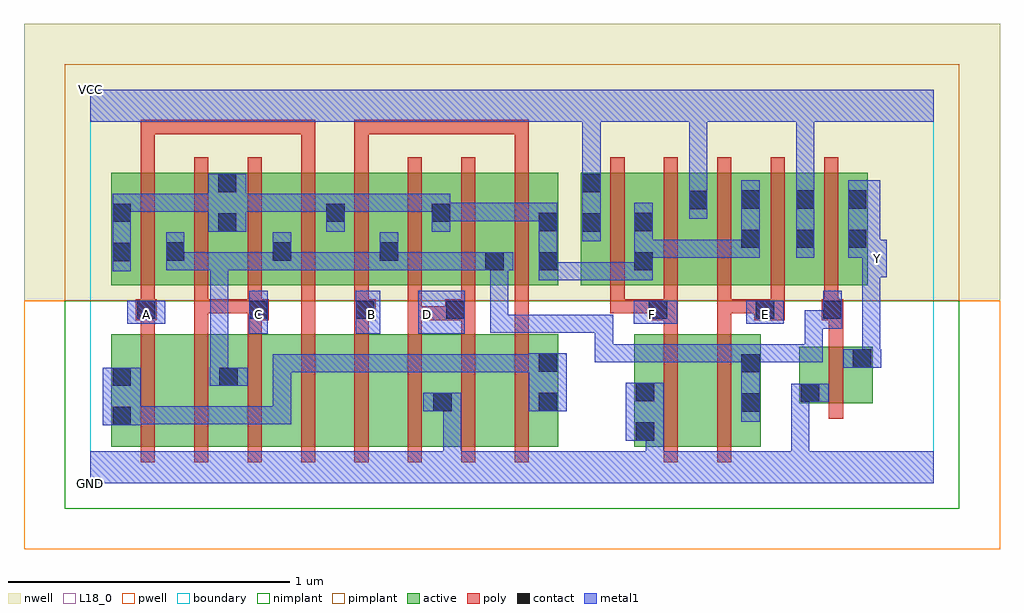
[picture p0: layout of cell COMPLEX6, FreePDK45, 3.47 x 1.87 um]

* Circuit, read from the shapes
.subckt COMPLEX6 A B C D E F GND VCC Y
M1 n1 A n2 VSUBS nfet w=0.4u l=0.05u
M2 n3 C n1 VSUBS nfet w=0.4u l=0.05u
M3 n4 C n3 VSUBS nfet w=0.4u l=0.05u
M4 n5 A n4 VSUBS nfet w=0.4u l=0.05u
M5 n6 B n5 VSUBS nfet w=0.4u l=0.05u
M6 GND D n6 VSUBS nfet w=0.4u l=0.05u
M7 n7 D GND VSUBS nfet w=0.4u l=0.05u
M8 n2 B n7 VSUBS nfet w=0.4u l=0.05u
M9 n8 F GND VSUBS nfet w=0.4u l=0.05u
M10 n3 E n8 VSUBS nfet w=0.4u l=0.05u
M11 Y n3 GND VSUBS nfet w=0.2u l=0.05u
M12 n3 A n9 n10 pfet w=0.4u l=0.05u m=2
M13 n9 C n3 n10 pfet w=0.4u l=0.05u m=2
M14 n3 B n9 n10 pfet w=0.4u l=0.05u m=2
M15 n9 D n3 n10 pfet w=0.4u l=0.05u m=2
M16 n9 F VCC n10 pfet w=0.4u l=0.05u m=2
M17 n9 E VCC n10 pfet w=0.4u l=0.05u m=2
M18 Y n3 VCC n10 pfet w=0.4u l=0.05u
.ends

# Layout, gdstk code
import gdstk
lib = gdstk.Library(unit=1e-6, precision=1e-09)
def R(c, l, rs):  # rectangles x0, y0, x1, y1
    for r in rs: c.add(gdstk.rectangle(r[:2], r[2:], *l))
def A(c, l, x, y, w, h, nx, ny, dx, dy):  # array of equal rectangles
    R(c, l, [(x+i*dx, y+j*dy, x+i*dx+w, y+j*dy+h) for i in range(nx) for j in range(ny)])
active = (1, 0)
pwell = (2, 0)
nwell = (3, 0)
nimplant = (4, 0)
pimplant = (5, 0)
poly = (9, 0)
contact = (10, 0)
metal1 = (11, 0)
L18_0 = (18, 0)
boundary = (235, 0)

complex6 = lib.new_cell('COMPLEX6')
A(complex6, active, 0.265, 0.705, 0.075, 0.365, 3, 1, 0.38, 0)
A(complex6, active, 1.745, 0.705, 0.26, 0.4, 3, 1, 0.38, 0)
R(complex6, active, [(0.075,0.13,0.3,0.53), (0.3,0.13,0.53,0.53), (0.455,0.13,0.68,0.53), (0.68,0.13,0.87,0.53), (0.87,0.13,1.06,0.53), (1.06,0.13,1.29,0.53), (1.215,0.13,1.44,0.53), (1.44,0.13,1.665,0.53), (1.935,0.13,2.16,0.53), (1.935,0.13,2.01,0.53), (2.16,0.13,2.385,0.53), (0.075,0.195,0.18,0.53), (0.455,0.195,0.53,0.53), (1.215,0.195,1.29,0.492), (1.59,0.195,1.665,0.53), (2.31,0.195,2.385,0.53), (2.522,0.285,2.782,0.485), (2.522,0.285,2.597,0.485), (2.707,0.395,2.782,0.485), (0.075,0.705,0.15,1.105), (0.075,0.705,0.34,1.105), (0.265,0.705,0.525,1.105), (0.45,0.705,0.72,1.105), (0.645,0.705,0.91,1.105), (0.835,0.705,1.1,1.105), (1.025,0.705,1.285,1.105), (1.21,0.705,1.475,1.105), (1.4,0.705,1.665,1.105), (1.4,0.705,1.475,1.07), (1.59,0.705,1.665,1.105), (1.745,0.705,1.82,1.105), (1.93,0.705,2.2,1.105), (2.31,0.705,2.385,1.105), (2.31,0.705,2.58,1.105), (2.69,0.705,2.765,1.105), (1.93,0.752,2.005,1.105), (0.45,0.782,0.525,1.105), (1.21,0.782,1.285,1.105), (0.835,0.802,0.91,1.105), (2.125,0.802,2.2,1.105), (2.505,0.832,2.58,1.105)])
R(complex6, pwell, [(-0.235,-0.235,3.235,0.65)])
R(complex6, nwell, [(-0.235,0.65,3.235,1.635)])
R(complex6, nimplant, [(-0.09,-0.09,3.09,0.65)])
R(complex6, pimplant, [(-0.09,0.65,3.09,1.49)])
A(complex6, poly, 0.18, 0.075, 0.05, 0.51, 8, 2, 0.19, 0.575)
A(complex6, poly, 0.56, 0.535, 0.05, 0.095, 6, 1, 0.19, 0)
A(complex6, poly, 0.75, 0.58, 0.05, 0.12, 3, 1, 0.38, 0)
A(complex6, poly, 0.18, 0.605, 0.05, 0.095, 3, 1, 0.19, 0)
A(complex6, poly, 1.85, 0.605, 0.05, 0.095, 5, 1, 0.19, 0)
A(complex6, poly, 1.85, 0.65, 0.05, 0.51, 5, 1, 0.19, 0)
R(complex6, poly, [(2.04,0.075,2.09,0.585), (2.23,0.075,2.28,0.585), (2.627,0.23,2.677,0.54), (2.627,0.49,2.677,0.63), (0.18,0.535,0.23,0.63), (0.37,0.535,0.42,0.655), (2.04,0.535,2.09,0.63), (2.23,0.535,2.28,0.655), (0.162,0.58,0.237,0.655), (0.56,0.58,0.635,0.655), (0.75,0.58,0.8,0.63), (0.94,0.58,1.015,0.655), (1.13,0.58,1.312,0.63), (1.13,0.58,1.18,0.63), (1.13,0.58,1.18,0.63), (1.13,0.58,1.18,0.63), (1.262,0.58,1.37,0.655), (1.51,0.58,1.56,0.63), (1.982,0.58,2.09,0.655), (2.362,0.58,2.47,0.655), (2.602,0.58,2.677,0.655), (0.37,0.605,0.42,0.655), (0.37,0.605,0.42,0.655), (0.37,0.605,0.42,0.655), (0.37,0.605,0.61,0.655), (0.94,0.605,0.99,0.7), (1.32,0.605,1.37,0.7), (1.85,0.605,2.032,0.655), (1.85,0.605,1.9,0.655), (1.982,0.605,2.032,0.655), (1.982,0.605,2.032,0.655), (2.23,0.605,2.412,0.655), (2.23,0.605,2.28,0.655), (2.23,0.605,2.28,0.655), (2.23,0.605,2.28,0.655), (0.18,1.11,0.23,1.292), (0.75,1.11,0.8,1.292), (0.94,1.11,0.99,1.292), (1.51,1.11,1.56,1.292), (0.18,1.242,0.362,1.292), (0.18,1.242,0.23,1.292), (0.18,1.242,0.23,1.292), (0.18,1.242,0.23,1.292), (0.312,1.242,0.362,1.292), (0.312,1.242,0.667,1.292), (0.617,1.242,0.667,1.292), (0.617,1.242,0.667,1.292), (0.617,1.242,0.667,1.292), (0.617,1.242,0.8,1.292), (0.75,1.242,0.8,1.292), (0.75,1.242,0.8,1.292), (0.75,1.242,0.8,1.292), (0.94,1.242,0.99,1.292), (0.94,1.242,0.99,1.292), (0.94,1.242,0.99,1.292), (0.94,1.242,1.18,1.292), (1.13,1.242,1.312,1.292), (1.13,1.242,1.18,1.292), (1.262,1.242,1.312,1.292), (1.262,1.242,1.312,1.292), (1.262,1.242,1.312,1.292), (1.262,1.242,1.56,1.292), (1.51,1.242,1.56,1.292), (1.51,1.242,1.56,1.292), (1.51,1.242,1.56,1.292)])
A(complex6, contact, 0.27, 0.792, 0.065, 0.065, 3, 1, 0.38, 0)
R(complex6, contact, [(1.94,0.152,2.005,0.217), (0.08,0.207,0.145,0.272), (2.315,0.255,2.38,0.32), (1.22,0.257,1.285,0.322), (1.595,0.257,1.66,0.322), (2.527,0.29,2.592,0.355), (1.94,0.292,2.005,0.357), (0.08,0.347,0.145,0.412), (0.46,0.347,0.525,0.412), (2.315,0.395,2.38,0.46), (1.595,0.397,1.66,0.462), (2.712,0.412,2.777,0.477), (0.167,0.585,0.232,0.65), (0.565,0.585,0.63,0.65), (0.945,0.585,1.01,0.65), (1.267,0.585,1.332,0.65), (1.987,0.585,2.052,0.65), (2.367,0.585,2.432,0.65), (2.607,0.585,2.672,0.65), (1.405,0.757,1.47,0.822), (1.595,0.757,1.66,0.822), (1.935,0.757,2,0.822), (0.08,0.79,0.145,0.855), (2.315,0.837,2.38,0.902), (2.51,0.837,2.575,0.902), (2.695,0.837,2.76,0.902), (0.455,0.895,0.52,0.96), (1.75,0.895,1.815,0.96), (1.595,0.897,1.66,0.962), (1.935,0.897,2,0.962), (0.08,0.93,0.145,0.995), (0.84,0.93,0.905,0.995), (1.215,0.93,1.28,0.995), (2.13,0.975,2.195,1.04), (2.315,0.977,2.38,1.042), (2.51,0.977,2.575,1.042), (2.695,0.977,2.76,1.042), (0.455,1.035,0.52,1.1), (1.75,1.035,1.815,1.1)])
A(complex6, metal1, 0.27, 0.757, 0.065, 0.135, 3, 1, 0.38, 0)
R(complex6, metal1, [(0,0,3,0.115), (1.255,0.05,1.32,0.322), (1.975,0.05,2.04,0.217), (2.492,0.05,2.557,0.355), (1.905,0.152,2.04,0.357), (0.045,0.207,0.18,0.412), (0.115,0.21,0.18,0.275), (0.115,0.21,0.18,0.275), (0.115,0.21,0.347,0.275), (0.282,0.21,0.347,0.275), (0.282,0.21,0.347,0.275), (0.282,0.21,0.347,0.275), (0.282,0.21,0.347,0.275), (0.282,0.21,0.347,0.275), (0.282,0.21,0.485,0.275), (0.42,0.21,0.485,0.275), (0.42,0.21,0.485,0.275), (0.42,0.21,0.485,0.275), (0.42,0.21,0.715,0.275), (0.65,0.21,0.715,0.275), (0.65,0.21,0.715,0.46), (2.315,0.22,2.38,0.495), (1.185,0.257,1.32,0.322), (1.56,0.257,1.695,0.462), (2.492,0.29,2.557,0.355), (2.492,0.29,2.557,0.355), (2.492,0.29,2.557,0.355), (2.492,0.29,2.557,0.355), (2.492,0.29,2.627,0.355), (0.425,0.347,0.56,0.412), (0.427,0.347,0.492,0.412), (0.427,0.347,0.492,0.412), (0.427,0.347,0.492,0.822), (0.65,0.395,0.715,0.46), (0.65,0.395,0.715,0.46), (0.65,0.395,0.715,0.46), (0.65,0.395,0.852,0.46), (0.787,0.395,0.852,0.46), (0.787,0.395,0.852,0.46), (0.787,0.395,0.852,0.46), (0.787,0.395,1.095,0.46), (1.03,0.395,1.095,0.46), (1.03,0.395,1.095,0.46), (1.03,0.395,1.095,0.46), (1.03,0.395,1.297,0.46), (1.232,0.395,1.297,0.46), (1.232,0.395,1.297,0.46), (1.232,0.395,1.297,0.46), (1.232,0.395,1.487,0.46), (1.422,0.395,1.487,0.46), (1.422,0.395,1.487,0.46), (1.422,0.395,1.487,0.46), (1.422,0.395,1.625,0.46), (2.677,0.412,2.812,0.477), (2.745,0.412,2.81,0.797), (1.795,0.43,1.86,0.495), (1.795,0.43,1.997,0.495), (1.795,0.43,1.86,0.6), (1.932,0.43,1.997,0.495), (1.932,0.43,2.137,0.495), (2.072,0.43,2.137,0.495), (2.072,0.43,2.137,0.495), (2.072,0.43,2.137,0.495), (2.072,0.43,2.38,0.495), (2.315,0.43,2.38,0.495), (2.315,0.43,2.38,0.495), (2.315,0.43,2.605,0.495), (2.54,0.43,2.605,0.495), (2.54,0.43,2.605,0.615), (0.565,0.532,0.632,0.685), (0.945,0.532,1.032,0.685), (1.167,0.532,1.332,0.685), (1.422,0.535,1.487,0.6), (1.422,0.535,1.487,0.6), (1.422,0.535,1.487,0.6), (1.422,0.535,1.642,0.6), (1.422,0.535,1.487,0.822), (1.577,0.535,1.642,0.6), (1.577,0.535,1.642,0.6), (1.577,0.535,1.642,0.6), (1.577,0.535,1.86,0.6), (1.795,0.535,1.86,0.6), (1.795,0.535,1.86,0.6), (1.795,0.535,1.86,0.6), (2.54,0.55,2.605,0.615), (2.54,0.55,2.672,0.615), (2.607,0.55,2.672,0.685), (0.132,0.567,0.267,0.65), (1.932,0.567,2.087,0.65), (2.332,0.567,2.467,0.65), (1.595,0.722,1.66,0.787), (1.595,0.722,1.66,0.787), (1.595,0.722,1.66,0.787), (1.595,0.722,1.66,0.787), (1.595,0.722,1.66,0.997), (1.595,0.722,1.797,0.787), (1.732,0.722,1.797,0.787), (1.732,0.722,2,0.787), (1.935,0.722,2,0.997), (2.745,0.732,2.832,0.867), (0.08,0.755,0.145,1.03), (0.27,0.757,0.335,0.822), (0.27,0.757,0.335,0.822), (0.27,0.757,0.492,0.822), (0.427,0.757,0.492,0.822), (0.427,0.757,0.492,0.822), (0.427,0.757,0.492,0.822), (0.427,0.757,0.715,0.822), (0.65,0.757,0.715,0.822), (0.65,0.757,0.715,0.822), (0.65,0.757,0.957,0.822), (0.892,0.757,0.957,0.822), (0.892,0.757,0.957,0.822), (0.892,0.757,0.957,0.822), (0.892,0.757,1.095,0.822), (1.03,0.757,1.095,0.822), (1.03,0.757,1.095,0.822), (1.03,0.757,1.232,0.822), (1.167,0.757,1.232,0.822), (1.167,0.757,1.232,0.822), (1.167,0.757,1.232,0.822), (1.167,0.757,1.435,0.822), (1.37,0.757,1.505,0.822), (1.935,0.802,2,0.867), (1.935,0.802,2,0.867), (1.935,0.802,2.137,0.867), (2.072,0.802,2.137,0.867), (2.072,0.802,2.137,0.867), (2.072,0.802,2.137,0.867), (2.072,0.802,2.38,0.867), (2.315,0.802,2.38,1.077), (2.51,0.802,2.575,1.077), (2.695,0.802,2.81,1.077), (2.745,0.802,2.81,0.867), (1.75,0.86,1.815,1.135), (0.42,0.895,0.555,1.1), (0.84,0.895,0.905,1.03), (1.215,0.895,1.28,1.03), (1.215,0.932,1.28,0.997), (1.215,0.932,1.28,0.997), (1.215,0.932,1.47,0.997), (1.405,0.932,1.47,0.997), (1.405,0.932,1.47,0.997), (1.405,0.932,1.47,0.997), (1.405,0.932,1.66,0.997), (2.13,0.94,2.195,1.075), (0.08,0.965,0.145,1.03), (0.08,0.965,0.145,1.03), (0.08,0.965,0.317,1.03), (0.252,0.965,0.317,1.03), (0.252,0.965,0.317,1.03), (0.252,0.965,0.317,1.03), (0.252,0.965,0.485,1.03), (0.49,0.965,0.555,1.03), (0.49,0.965,0.555,1.03), (0.49,0.965,0.697,1.03), (0.632,0.965,0.697,1.03), (0.632,0.965,0.697,1.03), (0.632,0.965,0.697,1.03), (0.632,0.965,0.905,1.03), (0.84,0.965,0.905,1.03), (0.84,0.965,0.905,1.03), (0.84,0.965,1.095,1.03), (1.03,0.965,1.095,1.03), (1.03,0.965,1.095,1.03), (1.03,0.965,1.095,1.03), (1.03,0.965,1.28,1.03), (2.13,1.01,2.195,1.075), (2.13,1.01,2.195,1.075), (2.13,1.01,2.195,1.35), (2.51,1.012,2.575,1.077), (2.51,1.012,2.575,1.077), (2.51,1.012,2.575,1.35), (1.75,1.07,1.815,1.135), (1.75,1.07,1.815,1.135), (1.75,1.07,1.815,1.35), (0,1.285,3,1.4)])
A(complex6, L18_0, 0.167, 0.567, 0.065, 0.065, 3, 1, 0.4, 0)
R(complex6, L18_0, [(0,0,3,0.115), (1.255,0.05,1.32,0.322), (1.975,0.05,2.04,0.217), (2.492,0.05,2.557,0.355), (1.905,0.152,2.04,0.357), (1.185,0.257,1.32,0.322), (2.492,0.29,2.627,0.355), (2.492,0.29,2.557,0.355), (2.492,0.29,2.557,0.355), (2.492,0.29,2.557,0.355), (2.492,0.29,2.557,0.355), (2.677,0.412,2.812,0.477), (2.745,0.412,2.81,0.797), (0.565,0.532,0.632,0.685), (0.945,0.532,1.032,0.685), (1.167,0.532,1.332,0.685), (0.132,0.567,0.267,0.65), (1.167,0.567,1.232,0.632), (1.932,0.567,2.087,0.65), (1.967,0.567,2.032,0.632), (2.332,0.567,2.467,0.65), (2.367,0.567,2.432,0.632), (2.745,0.732,2.832,0.867), (2.767,0.767,2.832,0.832), (2.51,0.802,2.575,1.077), (2.695,0.802,2.81,1.077), (2.745,0.802,2.81,0.867), (1.75,0.86,1.815,1.135), (2.13,0.94,2.195,1.075), (2.13,1.01,2.195,1.075), (2.13,1.01,2.195,1.075), (2.13,1.01,2.195,1.35), (2.51,1.012,2.575,1.077), (2.51,1.012,2.575,1.077), (2.51,1.012,2.575,1.35), (1.75,1.07,1.815,1.135), (1.75,1.07,1.815,1.135), (1.75,1.07,1.815,1.35), (0,1.285,3,1.4)])
R(complex6, boundary, [(0,0,3,1.4)])
complex6.add(gdstk.Label('A', (0.2,0.6), layer=11, texttype=0))
complex6.add(gdstk.Label('B', (1,0.6), layer=11, texttype=0))
complex6.add(gdstk.Label('C', (0.6,0.6), layer=11, texttype=0))
complex6.add(gdstk.Label('D', (1.2,0.6), layer=11, texttype=0))
complex6.add(gdstk.Label('E', (2.4,0.6), layer=11, texttype=0))
complex6.add(gdstk.Label('F', (2,0.6), layer=11, texttype=0))
complex6.add(gdstk.Label('Y', (2.8,0.8), layer=11, texttype=0))
complex6.add(gdstk.Label('VCC', (0,1.4), layer=11, texttype=0))
complex6.add(gdstk.Label('GND', (0,0), layer=11, texttype=0))

lib.write_gds('COMPLEX6.gds')
